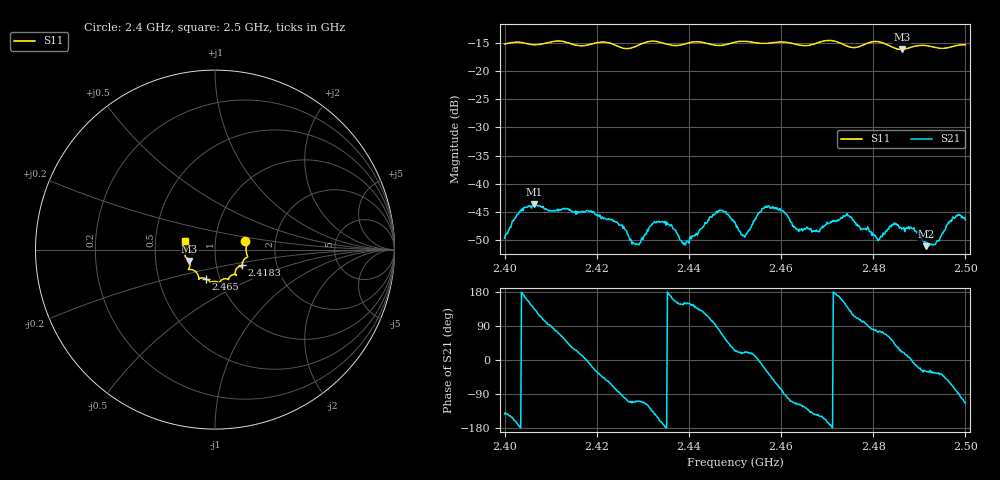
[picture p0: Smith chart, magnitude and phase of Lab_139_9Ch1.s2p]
# Hz S RI R 50
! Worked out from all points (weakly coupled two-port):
!   601 points, 2.4 GHz to 2.5 GHz, reference 50 ohm
!   highest |S21| = -43.72 dB at 2.4063 GHz (marker M1); lowest = -51.2 dB at 2.4915 GHz (marker M2)
!   lowest |S11| = -16.1 dB at 2.4862 GHz (marker M3), VSWR 1.37, Z = 37.2 - j4.85 ohm
!   |S11| at or under -10 dB: start of sweep to end of sweep
!   S12 and S22 are empty: the file has one direction only
!   S11 on the Smith chart (normalised r, x): 2.4 GHz: 1.40, +0.14; 2.4183 GHz: 1.33, -0.24; 2.465 GHz: 0.86, -0.29; 2.5 GHz: 0.71, +0.07
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2.4e9  0.169 0.0469  -0.00257 -0.002  0 0  0 0
2.403333e9  0.1792 0.0314  -0.00566 -0.000282  0 0  0 0
2.406333e9  0.1729 0.00491  -0.00466 0.00456  0 0  0 0
2.416667e9  0.1547 -0.0684  0.0055 0.0012  0 0  0 0
2.418333e9  0.1501 -0.0869  0.00556 -0.000755  0 0  0 0
2.428667e9  0.1127 -0.1254  -0.000934 -0.00273  0 0  0 0
2.433333e9  0.1176 -0.141  -0.00405 -0.00207  0 0  0 0
2.439e9  0.0783 -0.1566  -0.00257 0.00145  0 0  0 0
2.4465e9  0.0492 -0.1632  0.000928 0.00559  0 0  0 0
2.45e9  0.0263 -0.1805  0.00411 0.00181  0 0  0 0
2.452167e9  0.0212 -0.1842  0.00309 0.00122  0 0  0 0
2.457e9  -0.00958 -0.1779  0.00521 -0.00322  0 0  0 0
2.465e9  -0.0524 -0.1616  -0.00213 -0.00335  0 0  0 0
2.466667e9  -0.0713 -0.1577  -0.00276 -0.00247  0 0  0 0
2.474e9  -0.0945 -0.1419  -0.00429 0.00294  0 0  0 0
2.480833e9  -0.1476 -0.1106  0.000822 0.00314  0 0  0 0
2.483333e9  -0.1409 -0.0963  0.00184 0.00346  0 0  0 0
2.486167e9  -0.1435 -0.0636  0.00362 0.00152  0 0  0 0
2.4915e9  -0.1668 -0.0316  0.00239 -0.0014  0 0  0 0
2.493833e9  -0.162 -0.0112  0.00249 -0.00176  0 0  0 0
2.497667e9  -0.1653 0.0329  0.00114 -0.00478  0 0  0 0
2.5e9  -0.1662 0.0466  -0.00188 -0.00436  0 0  0 0
